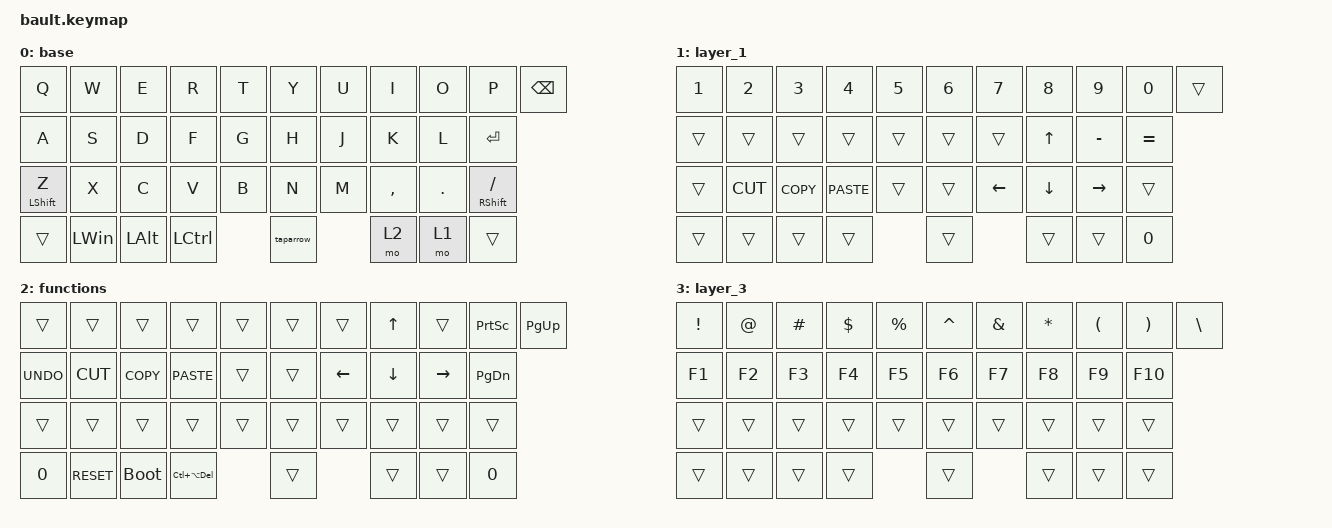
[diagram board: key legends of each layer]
#include <behaviors.dtsi>
#include <dt-bindings/zmk/keys.h>

/ {
    behaviors {
        hm: homerow_mods {
            compatible = "zmk,behavior-hold-tap";
            display-name = "Homerow Mods";
            bindings = <&kp>, <&kp>;

            #binding-cells = <2>;
            tapping-term-ms = <200>;
            quick-tap-ms = <180>;
            require-prior-idle-ms = <0>;
            flavor = "tap-preferred";
        };

        taparrow: taparrow {
            compatible = "zmk,behavior-tap-dance";
            label = "TAPARROW";
            #binding-cells = <0>;
            bindings = <&kp SPACE>, <&mo 3>;

            tapping-term-ms = <300>;
        };
    };

    combos {
        compatible = "zmk,combos";

        tab {
            bindings = <&kp TAB>;
            key-positions = <11 12>;
            layers = <0>;
        };

        esc {
            bindings = <&kp ESCAPE>;
            key-positions = <0 1>;
        };

        caps {
            bindings = <&kp CAPS>;
            key-positions = <21 22>;
        };

        copy {
            bindings = <&kp K_COPY>;
            key-positions = <23 22>;
        };

        shiftR {
            bindings = <&kp SLASH>;
            key-positions = <30 29>;
        };

        return {
            bindings = <&kp SEMI>;
            key-positions = <20 19>;
        };

        apostrophe {
            bindings = <&kp APOS>;
            key-positions = <19 18>;
        };

        layer3 {
            bindings = <&mo 3>;
            key-positions = <35 34>;
        };

        delete {
            bindings = <&kp DEL>;
            key-positions = <10 9>;
        };
    };

    keymap {
        compatible = "zmk,keymap";

        base {
            bindings = <
&kp Q             &kp W         &kp E     &kp R             &kp T  &kp Y      &kp U  &kp I      &kp O       &kp P                  &kp BACKSPACE
&kp A             &kp S         &kp D     &kp F             &kp G  &kp H      &kp J  &kp K      &kp L       &kp ENTER
&hm LEFT_SHIFT Z  &kp X         &kp C     &kp V             &kp B  &kp N      &kp M  &kp COMMA  &kp PERIOD  &hm RIGHT_SHIFT SLASH
&trans            &kp LEFT_WIN  &kp LALT  &kp LEFT_CONTROL         &taparrow         &mo 2      &mo 1       &trans
            >;
        };

        layer_1 {
            bindings = <
&kp N1  &kp N2     &kp N3      &kp N4       &kp N5  &kp N6  &kp N7    &kp N8    &kp N9     &kp N0     &trans
&trans  &trans     &trans      &trans       &trans  &trans  &trans    &kp UP    &kp MINUS  &kp EQUAL
&trans  &kp K_CUT  &kp K_COPY  &kp K_PASTE  &trans  &trans  &kp LEFT  &kp DOWN  &kp RIGHT  &trans
&trans  &trans     &trans      &trans               &trans            &trans    &trans     &kp N0
            >;
        };

        functions {
            bindings = <
&trans      &trans       &trans       &trans           &trans  &trans  &trans          &kp UP_ARROW  &trans     &kp PRINTSCREEN  &kp PAGE_UP
&kp K_UNDO  &kp K_CUT    &kp K_COPY   &kp K_PASTE      &trans  &trans  &kp LEFT_ARROW  &kp DOWN      &kp RIGHT  &kp PAGE_DOWN
&trans      &trans       &trans       &trans           &trans  &trans  &trans          &trans        &trans     &trans
&kp N0      &kp C_RESET  &bootloader  &kp LC(LA(DEL))          &trans                  &trans        &trans     &kp N0
            >;
        };

        layer_3 {
            bindings = <
&kp EXCL  &kp AT  &kp POUND  &kp DOLLAR  &kp PERCENT  &kp CARET  &kp AMPERSAND  &kp STAR  &kp LEFT_PARENTHESIS  &kp RIGHT_PARENTHESIS  &kp BACKSLASH
&kp F1    &kp F2  &kp F3     &kp F4      &kp F5       &kp F6     &kp F7         &kp F8    &kp F9                &kp F10
&trans    &trans  &trans     &trans      &trans       &trans     &trans         &trans    &trans                &trans
&trans    &trans  &trans     &trans                   &trans                    &trans    &trans                &trans
            >;
        };
    };
};
